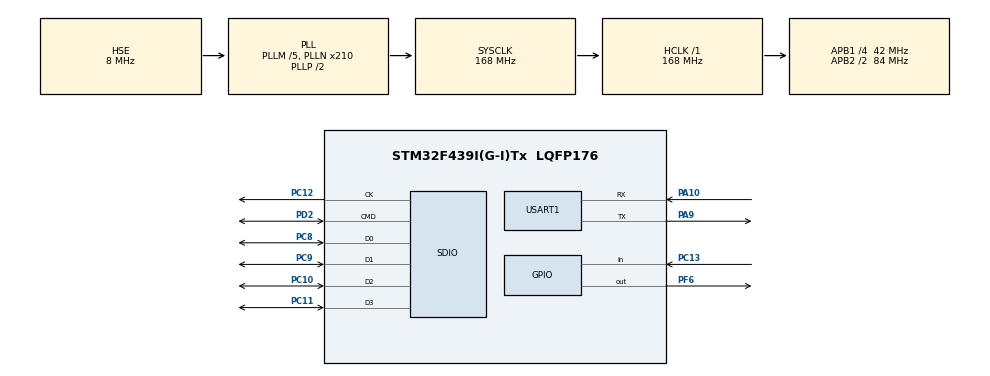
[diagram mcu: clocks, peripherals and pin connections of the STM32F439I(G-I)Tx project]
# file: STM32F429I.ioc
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Dma.Request0=SDIO_TX
Dma.Request1=SDIO_RX
Dma.SDIO_RX.1.Channel=DMA_CHANNEL_4
Dma.SDIO_RX.1.Direction=DMA_PERIPH_TO_MEMORY
Dma.SDIO_RX.1.FIFOMode=DMA_FIFOMODE_ENABLE
Dma.SDIO_RX.1.FIFOThreshold=DMA_FIFO_THRESHOLD_FULL
Dma.SDIO_RX.1.Instance=DMA2_Stream6
Dma.SDIO_RX.1.MemBurst=DMA_MBURST_INC4
Dma.SDIO_RX.1.MemDataAlignment=DMA_MDATAALIGN_WORD
Dma.SDIO_RX.1.MemInc=DMA_MINC_ENABLE
Dma.SDIO_RX.1.Mode=DMA_PFCTRL
Dma.SDIO_RX.1.PeriphBurst=DMA_PBURST_INC4
Dma.SDIO_RX.1.PeriphDataAlignment=DMA_PDATAALIGN_WORD
Dma.SDIO_RX.1.PeriphInc=DMA_PINC_DISABLE
Dma.SDIO_RX.1.Priority=DMA_PRIORITY_VERY_HIGH
Dma.SDIO_TX.0.Channel=DMA_CHANNEL_4
Dma.SDIO_TX.0.Direction=DMA_MEMORY_TO_PERIPH
Dma.SDIO_TX.0.FIFOMode=DMA_FIFOMODE_ENABLE
Dma.SDIO_TX.0.FIFOThreshold=DMA_FIFO_THRESHOLD_FULL
Dma.SDIO_TX.0.Instance=DMA2_Stream3
Dma.SDIO_TX.0.MemBurst=DMA_MBURST_INC4
Dma.SDIO_TX.0.MemDataAlignment=DMA_MDATAALIGN_WORD
Dma.SDIO_TX.0.MemInc=DMA_MINC_ENABLE
Dma.SDIO_TX.0.Mode=DMA_PFCTRL
Dma.SDIO_TX.0.PeriphBurst=DMA_PBURST_INC4
Dma.SDIO_TX.0.PeriphDataAlignment=DMA_PDATAALIGN_WORD
Dma.SDIO_TX.0.PeriphInc=DMA_PINC_DISABLE
Dma.SDIO_TX.0.Priority=DMA_PRIORITY_VERY_HIGH
FATFS._CODE_PAGE=936
FATFS._FS_NORTC=0
FATFS._USE_LFN=3
Mcu.Family=STM32F4
Mcu.Name=STM32F439I(G-I)Tx
Mcu.Package=LQFP176
NVIC.DMA2_Stream3_IRQn=true\:6\:0\:true
NVIC.DMA2_Stream6_IRQn=true\:6\:0\:true
NVIC.PriorityGroup=NVIC_PRIORITYGROUP_4
NVIC.SDIO_IRQn=true\:5\:0\:true
PA10.Mode=Asynchronous
PA10.Signal=USART1_RX
PA9.Mode=Asynchronous
PA9.Signal=USART1_TX
PC10.GPIO_Mode=GPIO_MODE_AF_PP
PC10.GPIO_PuPd=GPIO_PULLUP
PC10.GPIO_Speed_High_Default=GPIO_SPEED_HIGH
PC10.Mode=SD_4_bits_Wide_bus
PC10.Signal=SDIO_D2
PC11.GPIO_Mode=GPIO_MODE_AF_PP
PC11.GPIO_PuPd=GPIO_PULLUP
PC11.GPIO_Speed_High_Default=GPIO_SPEED_HIGH
PC11.Mode=SD_4_bits_Wide_bus
PC11.Signal=SDIO_D3
PC12.Mode=SD_4_bits_Wide_bus
PC12.Signal=SDIO_CK
PC13.Signal=GPIO_Input
PC8.GPIO_Mode=GPIO_MODE_AF_PP
PC8.GPIO_PuPd=GPIO_PULLUP
PC8.GPIO_Speed_High_Default=GPIO_SPEED_HIGH
PC8.Mode=SD_4_bits_Wide_bus
PC8.Signal=SDIO_D0
PC9.GPIO_Mode=GPIO_MODE_AF_PP
PC9.GPIO_PuPd=GPIO_PULLUP
PC9.GPIO_Speed_High_Default=GPIO_SPEED_HIGH
PC9.Mode=SD_4_bits_Wide_bus
PC9.Signal=SDIO_D1
PD2.GPIO_Mode=GPIO_MODE_AF_PP
PD2.GPIO_PuPd=GPIO_PULLUP
PD2.GPIO_Speed_High_Default=GPIO_SPEED_HIGH
PD2.Mode=SD_4_bits_Wide_bus
PD2.Signal=SDIO_CMD
PF6.Signal=GPIO_Output
PH0/OSC_IN.Mode=HSE-External-Oscillator
PH0/OSC_IN.Signal=RCC_OSC_IN
PH1/OSC_OUT.Mode=HSE-External-Oscillator
PH1/OSC_OUT.Signal=RCC_OSC_OUT
ProjectManager.TargetToolchain=MDK-ARM V5
RCC.48MHZClocksFreq_Value=48000000
RCC.AHBFreq_Value=168000000
RCC.APB1CLKDivider=RCC_HCLK_DIV4
RCC.APB1Freq_Value=42000000
RCC.APB1TimFreq_Value=84000000
RCC.APB2CLKDivider=RCC_HCLK_DIV2
RCC.APB2Freq_Value=84000000
RCC.APB2TimFreq_Value=168000000
RCC.CortexFreq_Value=168000000
RCC.HCLKFreq_Value=168000000
RCC.HSE_VALUE=8000000
RCC.HSI_VALUE=16000000
RCC.LSE_VALUE=32768
RCC.PLLM=5
RCC.PLLN=210
RCC.PLLQ=7
RCC.PLLSourceVirtual=RCC_PLLSOURCE_HSE
RCC.SYSCLKFreq_VALUE=168000000
RCC.SYSCLKSource=RCC_SYSCLKSOURCE_PLLCLK
RCC.VCOOutputFreq_Value=336000000
SDIO.BusWide=SDIO_BUS_WIDE_1B
SDIO.ClockDiv=0
SDIO.WideMode=SDIO_BUS_WIDE_4B
VP_FATFS_VS_SDIO.Mode=SDIO
board=STM32F429I

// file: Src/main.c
/**
  ******************************************************************************
  * File Name          : main.c
  * Description        : Main program body
  ******************************************************************************
  *
  * COPYRIGHT(c) 2016 STMicroelectronics
  *
  * Redistribution and use in source and binary forms, with or without modification,
  * are permitted provided that the following conditions are met:
  *   1. Redistributions of source code must retain the above copyright notice,
  *      this list of conditions and the following disclaimer.
  *   2. Redistributions in binary form must reproduce the above copyright notice,
  *      this list of conditions and the following disclaimer in the documentation
  *      and/or other materials provided with the distribution.
  *   3. Neither the name of STMicroelectronics nor the names of its contributors
  *      may be used to endorse or promote products derived from this software
  *      without specific prior written permission.
  *
  * THIS SOFTWARE IS PROVIDED BY THE COPYRIGHT HOLDERS AND CONTRIBUTORS "AS IS"
  * AND ANY EXPRESS OR IMPLIED WARRANTIES, INCLUDING, BUT NOT LIMITED TO, THE
  * IMPLIED WARRANTIES OF MERCHANTABILITY AND FITNESS FOR A PARTICULAR PURPOSE ARE
  * DISCLAIMED. IN NO EVENT SHALL THE COPYRIGHT HOLDER OR CONTRIBUTORS BE LIABLE
  * FOR ANY DIRECT, INDIRECT, INCIDENTAL, SPECIAL, EXEMPLARY, OR CONSEQUENTIAL
  * DAMAGES (INCLUDING, BUT NOT LIMITED TO, PROCUREMENT OF SUBSTITUTE GOODS OR
  * SERVICES; LOSS OF USE, DATA, OR PROFITS; OR BUSINESS INTERRUPTION) HOWEVER
  * CAUSED AND ON ANY THEORY OF LIABILITY, WHETHER IN CONTRACT, STRICT LIABILITY,
  * OR TORT (INCLUDING NEGLIGENCE OR OTHERWISE) ARISING IN ANY WAY OUT OF THE USE
  * OF THIS SOFTWARE, EVEN IF ADVISED OF THE POSSIBILITY OF SUCH DAMAGE.
  *
  ******************************************************************************
  */
#include "stm32f4xx_hal.h"
#include "dma.h"
#include "fatfs.h"
#include "sdio.h"
#include "usart.h"
#include "gpio.h"

/* USER CODE BEGIN PV */
/* Private variables ---------------------------------------------------------*/
extern uint8_t retSD;    /* Return value for SD */
uint8_t res;    /* Return value for SD */
extern char SD_Path[4];  /* SD logical drive path */
FATFS fs;            // Work area (file system object) for logical drive
FIL fil;      // file objects

/* USER CODE END PV */

void SystemClock_Config(void);

/* USER CODE BEGIN PFP */
/* Private function prototypes -----------------------------------------------*/
static void Error_Handler(void);
/* USER CODE END PFP */

int main(void)
{

  /* USER CODE BEGIN 1 */
//	FATFS fs;            // Work area (file system object) for logical drive
//	FIL file;      // file objects
	uint32_t byteswritten;                /* File write counts */
  uint32_t bytesread;                   /* File read counts */
	uint8_t wtext[] = "This is STM32 working with FatFs"; /* File write buffer */
  uint8_t rtext[100];                     /* File read buffers */
	char filename[] = "STM32cube.txt";

  /* USER CODE END 1 */

  /* MCU Configuration----------------------------------------------------------*/

  /* Reset of all peripherals, Initializes the Flash interface and the Systick. */
  HAL_Init();

  /* Configure the system clock */
  SystemClock_Config();

  /* Initialize all configured peripherals */
  MX_GPIO_Init();
  MX_DMA_Init();
  MX_SDIO_SD_Init();
  MX_USART1_UART_Init();
  MX_FATFS_Init();

  /* USER CODE BEGIN 2 */
	printf("\r\n ****** FatFs Example ******\r\n\r\n");

	/*##-1- Register the file system object to the FatFs module ##############*/
	res = f_mount(&fs, "", 0);
	if(res)
	{
		printf(" mount error : %d \r\n",res);
		Error_Handler();
	}
	else
		printf(" mount sucess!!! \r\n");

	/*##-2- Create and Open new text file objects with write access ######*/
	res = f_open(&fil, filename, FA_CREATE_ALWAYS | FA_WRITE);
	if(res)
		printf(" open file error : %d\r\n",res);
	else
		printf(" open file sucess!!! \r\n");

	/*##-3- Write data to the text files ###############################*/
	res = f_write(&fil, wtext, sizeof(wtext), (void *)&byteswritten);
	if(res)
		printf(" write file error : %d\r\n",res);
	else
	{
		printf(" write file sucess!!! \r\n");
		printf(" Write Data : %s\r\n",wtext);
	}

	/*##-4- Close the open text files ################################*/
	res = f_close(&fil);
	if(res)
		printf(" close error : %d\r\n",res);
	else
		printf(" close sucess!!! \r\n");

	/*##-5- Open the text files object with read access ##############*/
	res = f_open(&fil, filename, FA_READ);
	if(res)
		printf(" open file error : %d\r\n",res);
	else
		printf(" open file sucess!!! \r\n");

	/*##-6- Read data from the text files ##########################*/
	res = f_read(&fil, rtext, sizeof(rtext), (UINT*)&bytesread);
	if(res)
		printf(" read error!!! %d\r\n",res);
	else
	{
		printf(" read sucess!!! \r\n");
		printf(" Write Data : %s\r\n",rtext);
	}

	/*##-7- Close the open text files ############################*/
	res = f_close(&fil);
	if(res)
		printf(" close error!!! %d\r\n",res);
	else
		printf(" close sucess!!! \r\n");

	/*##-8- Compare read data with the expected data ############*/
	if(bytesread == byteswritten)
	{
		printf(" FatFs is working well!!!\r\n");
	}

  /* USER CODE END 2 */

  /* Infinite loop */
  while (1)
  {

  }

}

/** System Clock Configuration
*/
void SystemClock_Config(void)
{

  RCC_OscInitTypeDef RCC_OscInitStruct;
  RCC_ClkInitTypeDef RCC_ClkInitStruct;

  __PWR_CLK_ENABLE();

  __HAL_PWR_VOLTAGESCALING_CONFIG(PWR_REGULATOR_VOLTAGE_SCALE1);

  RCC_OscInitStruct.OscillatorType = RCC_OSCILLATORTYPE_HSE;
  RCC_OscInitStruct.HSEState = RCC_HSE_ON;
  RCC_OscInitStruct.PLL.PLLState = RCC_PLL_ON;
  RCC_OscInitStruct.PLL.PLLSource = RCC_PLLSOURCE_HSE;
  RCC_OscInitStruct.PLL.PLLM = 5;
  RCC_OscInitStruct.PLL.PLLN = 210;
  RCC_OscInitStruct.PLL.PLLP = RCC_PLLP_DIV2;
  RCC_OscInitStruct.PLL.PLLQ = 7;
  HAL_RCC_OscConfig(&RCC_OscInitStruct);

  RCC_ClkInitStruct.ClockType = RCC_CLOCKTYPE_SYSCLK|RCC_CLOCKTYPE_PCLK1
                              |RCC_CLOCKTYPE_PCLK2;
  RCC_ClkInitStruct.SYSCLKSource = RCC_SYSCLKSOURCE_PLLCLK;
  RCC_ClkInitStruct.AHBCLKDivider = RCC_SYSCLK_DIV1;
  RCC_ClkInitStruct.APB1CLKDivider = RCC_HCLK_DIV4;
  RCC_ClkInitStruct.APB2CLKDivider = RCC_HCLK_DIV2;
  HAL_RCC_ClockConfig(&RCC_ClkInitStruct, FLASH_LATENCY_5);

  HAL_SYSTICK_Config(HAL_RCC_GetHCLKFreq()/1000);

  HAL_SYSTICK_CLKSourceConfig(SYSTICK_CLKSOURCE_HCLK);

  /* SysTick_IRQn interrupt configuration */
  HAL_NVIC_SetPriority(SysTick_IRQn, 0, 0);
}

/* USER CODE BEGIN 4 */
/**
  * @brief  This function is executed in case of error occurrence.
  * @param  None
  * @retval None
  */
static void Error_Handler(void)
{
  /* Turn LED1 on */
  HAL_GPIO_WritePin(GPIOF,GPIO_PIN_6,GPIO_PIN_SET);
  while(1)
  {
  }
}
/* USER CODE END 4 */

/************************ (C) COPYRIGHT STMicroelectronics *****END OF FILE****/
